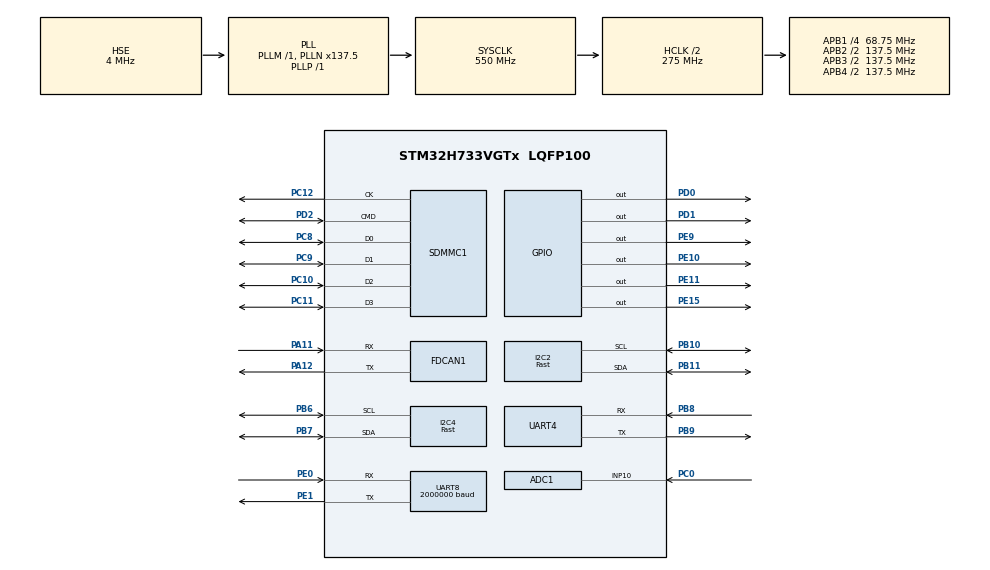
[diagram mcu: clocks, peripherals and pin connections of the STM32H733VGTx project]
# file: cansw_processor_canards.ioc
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ADC1.Channel-1\#ChannelRegularConversion=ADC_CHANNEL_10
ADC1.ContinuousConvMode=DISABLE
ADC1.NbrOfConversion=1
ADC1.NbrOfConversionFlag=1
ADC1.OffsetNumber-1\#ChannelRegularConversion=ADC_OFFSET_NONE
ADC1.OffsetSignedSaturation-1\#ChannelRegularConversion=DISABLE
ADC1.Rank-1\#ChannelRegularConversion=1
ADC1.SamplingTime-1\#ChannelRegularConversion=ADC_SAMPLETIME_1CYCLE_5
ADC1.master=1
Dma.Request0=UART8_RX
Dma.Request1=UART8_TX
Dma.UART8_RX.0.Direction=DMA_PERIPH_TO_MEMORY
Dma.UART8_RX.0.EventEnable=DISABLE
Dma.UART8_RX.0.FIFOMode=DMA_FIFOMODE_DISABLE
Dma.UART8_RX.0.Instance=DMA1_Stream0
Dma.UART8_RX.0.MemDataAlignment=DMA_MDATAALIGN_BYTE
Dma.UART8_RX.0.MemInc=DMA_MINC_ENABLE
Dma.UART8_RX.0.Mode=DMA_NORMAL
Dma.UART8_RX.0.PeriphDataAlignment=DMA_PDATAALIGN_BYTE
Dma.UART8_RX.0.PeriphInc=DMA_PINC_DISABLE
Dma.UART8_RX.0.Polarity=HAL_DMAMUX_REQ_GEN_RISING
Dma.UART8_RX.0.Priority=DMA_PRIORITY_HIGH
Dma.UART8_RX.0.RequestNumber=1
Dma.UART8_RX.0.SignalID=NONE
Dma.UART8_RX.0.SyncEnable=DISABLE
Dma.UART8_RX.0.SyncPolarity=HAL_DMAMUX_SYNC_NO_EVENT
Dma.UART8_RX.0.SyncRequestNumber=1
Dma.UART8_RX.0.SyncSignalID=NONE
Dma.UART8_TX.1.Direction=DMA_MEMORY_TO_PERIPH
Dma.UART8_TX.1.EventEnable=DISABLE
Dma.UART8_TX.1.FIFOMode=DMA_FIFOMODE_DISABLE
Dma.UART8_TX.1.Instance=DMA1_Stream1
Dma.UART8_TX.1.MemDataAlignment=DMA_MDATAALIGN_BYTE
Dma.UART8_TX.1.MemInc=DMA_MINC_ENABLE
Dma.UART8_TX.1.Mode=DMA_NORMAL
Dma.UART8_TX.1.PeriphDataAlignment=DMA_PDATAALIGN_BYTE
Dma.UART8_TX.1.PeriphInc=DMA_PINC_DISABLE
Dma.UART8_TX.1.Polarity=HAL_DMAMUX_REQ_GEN_RISING
Dma.UART8_TX.1.Priority=DMA_PRIORITY_HIGH
Dma.UART8_TX.1.RequestNumber=1
Dma.UART8_TX.1.SignalID=NONE
Dma.UART8_TX.1.SyncEnable=DISABLE
Dma.UART8_TX.1.SyncPolarity=HAL_DMAMUX_SYNC_NO_EVENT
Dma.UART8_TX.1.SyncRequestNumber=1
Dma.UART8_TX.1.SyncSignalID=NONE
FATFS._FS_REENTRANT=0
FATFS._USE_EXPAND=1
FDCAN1.CalculateBaudRateNominal=250000
FDCAN1.CalculateTimeBitNominal=4000
FDCAN1.CalculateTimeQuantumNominal=250.0
FDCAN1.DataPrescaler=4
FDCAN1.DataSyncJumpWidth=4
FDCAN1.DataTimeSeg1=4
FDCAN1.DataTimeSeg2=3
FDCAN1.NominalPrescaler=16
FDCAN1.NominalSyncJumpWidth=4
FDCAN1.NominalTimeSeg1=13
FDCAN1.NominalTimeSeg2=2
FDCAN1.RxFifo0ElmtsNbr=64
FDCAN1.StdFiltersNbr=0
FDCAN1.TxEventsNbr=32
FDCAN1.TxFifoQueueElmtsNbr=32
FDCAN1.TxFifoQueueMode=FDCAN_TX_FIFO_OPERATION
FREERTOS.INCLUDE_xEventGroupSetBitFromISR=1
FREERTOS.Tasks01=defaultTask,8,512,StartDefaultTask,Default,NULL,Dynamic,NULL,NULL
FREERTOS.configCHECK_FOR_STACK_OVERFLOW=2
FREERTOS.configENABLE_BACKWARD_COMPATIBILITY=0
FREERTOS.configENABLE_FPU=1
FREERTOS.configGENERATE_RUN_TIME_STATS=1
FREERTOS.configMINIMAL_STACK_SIZE=512
FREERTOS.configRECORD_STACK_HIGH_ADDRESS=1
FREERTOS.configTIMER_TASK_PRIORITY=54
FREERTOS.configTOTAL_HEAP_SIZE=131072
FREERTOS.configUSE_MALLOC_FAILED_HOOK=1
FREERTOS.configUSE_NEWLIB_REENTRANT=0
FREERTOS.configUSE_OS2_EVENTFLAGS_FROM_ISR=0
FREERTOS.configUSE_OS2_MUTEX=0
FREERTOS.configUSE_OS2_THREAD_ENUMERATE=0
FREERTOS.configUSE_OS2_THREAD_FLAGS=0
FREERTOS.configUSE_OS2_THREAD_SUSPEND_RESUME=0
FREERTOS.configUSE_OS2_TIMER=0
I2C2.I2C_Speed_Mode=I2C_Fast
I2C2.Timing=0x0060237C
I2C4.I2C_Speed_Mode=I2C_Fast
I2C4.Timing=0x00602173
Mcu.Family=STM32H7
Mcu.Name=STM32H733VGTx
Mcu.Package=LQFP100
NVIC.ADC_IRQn=true\:5\:0\:false\:false\:true\:true\:true\:true\:true
NVIC.CORDIC_IRQn=true\:5\:0\:false\:false\:true\:true\:true\:true\:true
NVIC.DMA1_Stream0_IRQn=true\:5\:0\:false\:false\:true\:true\:false\:true\:true
NVIC.DMA1_Stream1_IRQn=true\:5\:0\:false\:false\:true\:true\:false\:true\:true
NVIC.FDCAN1_IT0_IRQn=true\:5\:0\:false\:false\:true\:true\:true\:true\:true
NVIC.FMAC_IRQn=true\:5\:0\:false\:false\:true\:true\:true\:true\:true
NVIC.I2C2_ER_IRQn=true\:5\:0\:false\:false\:true\:true\:true\:true\:true
NVIC.I2C2_EV_IRQn=true\:5\:0\:false\:false\:true\:true\:true\:true\:true
NVIC.I2C4_ER_IRQn=true\:5\:0\:false\:false\:true\:true\:true\:true\:true
NVIC.I2C4_EV_IRQn=true\:5\:0\:false\:false\:true\:true\:true\:true\:true
NVIC.PriorityGroup=NVIC_PRIORITYGROUP_4
NVIC.SDMMC1_IRQn=true\:5\:0\:false\:false\:true\:true\:true\:true\:true
NVIC.TIM6_DAC_IRQn=true\:15\:0\:false\:false\:true\:false\:false\:true\:true
NVIC.TimeBase=TIM6_DAC_IRQn
NVIC.TimeBaseIP=TIM6
NVIC.UART4_IRQn=true\:5\:0\:false\:false\:true\:true\:true\:true\:true
NVIC.UART8_IRQn=true\:5\:0\:false\:false\:true\:true\:true\:true\:true
PA11.GPIO_Speed=GPIO_SPEED_FREQ_LOW
PA11.Mode=FDCAN_Activate
PA11.Signal=FDCAN1_RX
PA12.Mode=FDCAN_Activate
PA12.Signal=FDCAN1_TX
PA13(JTMS/SWDIO).Mode=Serial_Wire
PA13(JTMS/SWDIO).Signal=DEBUG_JTMS-SWDIO
PA14(JTCK/SWCLK).Mode=Serial_Wire
PA14(JTCK/SWCLK).Signal=DEBUG_JTCK-SWCLK
PB10.Mode=I2C
PB10.Signal=I2C2_SCL
PB11.Mode=I2C
PB11.Signal=I2C2_SDA
PB6.Mode=I2C
PB6.Signal=I2C4_SCL
PB7.Mode=I2C
PB7.Signal=I2C4_SDA
PB8.Mode=Asynchronous
PB8.Signal=UART4_RX
PB9.Mode=Asynchronous
PB9.Signal=UART4_TX
PC0.Signal=ADCx_INP10
PC10.Mode=SD_4_bits_Wide_bus
PC10.Signal=SDMMC1_D2
PC11.Mode=SD_4_bits_Wide_bus
PC11.Signal=SDMMC1_D3
PC12.Mode=SD_4_bits_Wide_bus
PC12.Signal=SDMMC1_CK
PC8.Mode=SD_4_bits_Wide_bus
PC8.Signal=SDMMC1_D0
PC9.Mode=SD_4_bits_Wide_bus
PC9.Signal=SDMMC1_D1
PD0.GPIO_ModeDefaultOutputPP=GPIO_MODE_OUTPUT_PP
PD0.GPIO_PuPd=GPIO_NOPULL
PD0.Signal=GPIO_Output
PD1.Signal=GPIO_Output
PD2.Mode=SD_4_bits_Wide_bus
PD2.Signal=SDMMC1_CMD
PE0.Mode=Asynchronous
PE0.Signal=UART8_RX
PE1.Mode=Asynchronous
PE1.Signal=UART8_TX
PE10.Signal=GPIO_Output
PE11.Signal=GPIO_Output
PE15.Signal=GPIO_Output
PE9.Signal=GPIO_Output
PH0-OSC_IN.Mode=HSE-External-Clock-Source
PH0-OSC_IN.Signal=RCC_OSC_IN
ProjectManager.HeapSize=0x200
ProjectManager.StackSize=0x400
ProjectManager.TargetToolchain=STM32CubeIDE
RCC.ADCFreq_Value=48000000
RCC.APB1Freq_Value=68750000
RCC.APB2Freq_Value=137500000
RCC.APB3Freq_Value=137500000
RCC.APB4Freq_Value=137500000
RCC.CortexFreq_Value=550000000
RCC.D1PPRE=RCC_APB3_DIV2
RCC.D2PPRE1=RCC_APB1_DIV4
RCC.D2PPRE2=RCC_APB2_DIV2
RCC.D3PPRE=RCC_APB4_DIV2
RCC.DIVM1=1
RCC.DIVM2=1
RCC.DIVM3=1
RCC.DIVN1=137
RCC.DIVN2=48
RCC.DIVN3=48
RCC.DIVP1=1
RCC.DIVP2=4
RCC.DIVQ1=4
RCC.DIVQ2=3
RCC.DIVQ3=3
RCC.DIVR1=4
RCC.DIVR3=3
RCC.FDCANCLockSelection=RCC_FDCANCLKSOURCE_PLL2
RCC.HCLKFreq_Value=275000000
RCC.HPRE=RCC_HCLK_DIV2
RCC.HSE_VALUE=4000000
RCC.I2C4CLockSelection=RCC_I2C4CLKSOURCE_PLL3
RCC.PLL2FRACN=0
RCC.PLL3FRACN=0
RCC.PLLFRACN=4096
RCC.PLLSourceVirtual=RCC_PLLSOURCE_HSE
RCC.RCC_RTC_Clock_Source_FROM_HSE=RCC_RTCCLKSOURCE_HSE_DIV32
RCC.RTCClockSelection=RCC_RTCCLKSOURCE_HSE_DIV32
RCC.SYSCLKFreq_VALUE=550000000
RCC.SYSCLKSource=RCC_SYSCLKSOURCE_PLLCLK
RCC.USART16CLockSelection=RCC_USART16910CLKSOURCE_PLL3
RCC.USART234578CLockSelection=RCC_USART234578CLKSOURCE_PLL3
RCC.USBFreq_Value=137500000
SDMMC1.ClockDiv=4
SH.ADCx_INP10.0=ADC1_INP10,IN10-Single-Ended
TIM2.Prescaler=12500
UART4.SwapParam=UART_ADVFEATURE_SWAP_ENABLE
UART8.BaudRate=2000000
VP_CORDIC_VS_CORDIC.Mode=CORDIC_Activate
VP_FATFS_VS_SDIO.Mode=SDIO
VP_FMAC_VS_FMAC.Mode=FMAC_Activate
VP_FREERTOS_VS_CMSIS_V2.Mode=CMSIS_V2
VP_MEMORYMAP_VS_MEMORYMAP.Mode=CurAppReg
VP_RTC_VS_RTC_Activate.Mode=RTC_Enabled
VP_SYS_VS_tim6.Mode=TIM6
VP_TIM2_VS_ClockSourceINT.Mode=Internal
VREF+.Mode=InternalMode
VREF+.Signal=VREFBUF_OUT
VREFBUF.VoltageScaling=SYSCFG_VREFBUF_VOLTAGE_SCALE0
board=custom

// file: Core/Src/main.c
/* USER CODE BEGIN Header */
/**
 ******************************************************************************
 * @file           : main.c
 * @brief          : Main program body
 ******************************************************************************
 * @attention
 *
 * Copyright (c) 2024 STMicroelectronics.
 * All rights reserved.
 *
 * This software is licensed under terms that can be found in the LICENSE file
 * in the root directory of this software component.
 * If no LICENSE file comes with this software, it is provided AS-IS.
 *
 ******************************************************************************
 */
/* USER CODE END Header */
#include "main.h"
#include "adc.h"
#include "cmsis_os.h"
#include "cordic.h"
#include "dma.h"
#include "fatfs.h"
#include "fdcan.h"
#include "fmac.h"
#include "gpio.h"
#include "i2c.h"
#include "memorymap.h"
#include "rtc.h"
#include "sdmmc.h"
#include "tim.h"
#include "usart.h"
#include "core_cm7.h"

/* USER CODE BEGIN PD */
#define DEFAULT_STACKDEPTH_WORDS 128 * 4

/* USER CODE END PD */

void SystemClock_Config(void);
void PeriphCommonClock_Config(void);
void MX_FREERTOS_Init(void);

int main(void) {

    /* MCU Configuration--------------------------------------------------------*/

    /* Reset of all peripherals, Initializes the Flash interface and the Systick. */
    HAL_Init();

    /* Configure the system clock */
    SystemClock_Config();

    /* Configure the peripherals common clocks */
    PeriphCommonClock_Config();

    /* Initialize all configured peripherals */
    MX_GPIO_Init();
    MX_DMA_Init();
    MX_CORDIC_Init();
    MX_FDCAN1_Init();
    MX_FMAC_Init();
    MX_I2C4_Init();
    MX_RTC_Init();
    MX_SDMMC1_SD_Init();
    MX_UART4_Init();
    MX_FATFS_Init();
    MX_ADC1_Init();
    MX_TIM2_Init();
    MX_UART8_Init();
    MX_I2C2_Init();
    /* USER CODE BEGIN 2 */
    HAL_TIM_Base_Start(&htim2);

    /* USER CODE END 2 */

    /* Init scheduler */
    osKernelInitialize();

    /* Call init function for freertos objects (in cmsis_os2.c) */
    MX_FREERTOS_Init();

    /* Start scheduler */
    osKernelStart();

    /* We should never get here as control is now taken by the scheduler */

    /* Infinite loop */
    while (1) {

    }
}

void SystemClock_Config(void) {
    RCC_OscInitTypeDef RCC_OscInitStruct = {0};
    RCC_ClkInitTypeDef RCC_ClkInitStruct = {0};

    /** Supply configuration update enable
     */
    HAL_PWREx_ConfigSupply(PWR_LDO_SUPPLY);

    /** Configure the main internal regulator output voltage
     */
    __HAL_PWR_VOLTAGESCALING_CONFIG(PWR_REGULATOR_VOLTAGE_SCALE0);

    while (!__HAL_PWR_GET_FLAG(PWR_FLAG_VOSRDY)) {}

    /** Initializes the RCC Oscillators according to the specified parameters
     * in the RCC_OscInitTypeDef structure.
     */
    RCC_OscInitStruct.OscillatorType = RCC_OSCILLATORTYPE_HSE;
    RCC_OscInitStruct.HSEState = RCC_HSE_BYPASS;
    RCC_OscInitStruct.PLL.PLLState = RCC_PLL_ON;
    RCC_OscInitStruct.PLL.PLLSource = RCC_PLLSOURCE_HSE;
    RCC_OscInitStruct.PLL.PLLM = 1;
    RCC_OscInitStruct.PLL.PLLN = 137;
    RCC_OscInitStruct.PLL.PLLP = 1;
    RCC_OscInitStruct.PLL.PLLQ = 4;
    RCC_OscInitStruct.PLL.PLLR = 4;
    RCC_OscInitStruct.PLL.PLLRGE = RCC_PLL1VCIRANGE_2;
    RCC_OscInitStruct.PLL.PLLVCOSEL = RCC_PLL1VCOWIDE;
    RCC_OscInitStruct.PLL.PLLFRACN = 4096;
    if (HAL_RCC_OscConfig(&RCC_OscInitStruct) != HAL_OK) {
        Error_Handler();
    }

    /** Initializes the CPU, AHB and APB buses clocks
     */
    RCC_ClkInitStruct.ClockType = RCC_CLOCKTYPE_HCLK | RCC_CLOCKTYPE_SYSCLK | RCC_CLOCKTYPE_PCLK1 |
                                  RCC_CLOCKTYPE_PCLK2 | RCC_CLOCKTYPE_D3PCLK1 |
                                  RCC_CLOCKTYPE_D1PCLK1;
    RCC_ClkInitStruct.SYSCLKSource = RCC_SYSCLKSOURCE_PLLCLK;
    RCC_ClkInitStruct.SYSCLKDivider = RCC_SYSCLK_DIV1;
    RCC_ClkInitStruct.AHBCLKDivider = RCC_HCLK_DIV2;
    RCC_ClkInitStruct.APB3CLKDivider = RCC_APB3_DIV2;
    RCC_ClkInitStruct.APB1CLKDivider = RCC_APB1_DIV4;
    RCC_ClkInitStruct.APB2CLKDivider = RCC_APB2_DIV2;
    RCC_ClkInitStruct.APB4CLKDivider = RCC_APB4_DIV2;

    if (HAL_RCC_ClockConfig(&RCC_ClkInitStruct, FLASH_LATENCY_3) != HAL_OK) {
        Error_Handler();
    }
}

void PeriphCommonClock_Config(void) {
    RCC_PeriphCLKInitTypeDef PeriphClkInitStruct = {0};

    /** Initializes the peripherals clock
     */
    PeriphClkInitStruct.PeriphClockSelection = RCC_PERIPHCLK_I2C4 | RCC_PERIPHCLK_ADC |
                                               RCC_PERIPHCLK_UART8 | RCC_PERIPHCLK_FDCAN |
                                               RCC_PERIPHCLK_UART4;
    PeriphClkInitStruct.PLL2.PLL2M = 1;
    PeriphClkInitStruct.PLL2.PLL2N = 48;
    PeriphClkInitStruct.PLL2.PLL2P = 4;
    PeriphClkInitStruct.PLL2.PLL2Q = 3;
    PeriphClkInitStruct.PLL2.PLL2R = 2;
    PeriphClkInitStruct.PLL2.PLL2RGE = RCC_PLL2VCIRANGE_2;
    PeriphClkInitStruct.PLL2.PLL2VCOSEL = RCC_PLL2VCOWIDE;
    PeriphClkInitStruct.PLL2.PLL2FRACN = 0;
    PeriphClkInitStruct.PLL3.PLL3M = 1;
    PeriphClkInitStruct.PLL3.PLL3N = 48;
    PeriphClkInitStruct.PLL3.PLL3P = 2;
    PeriphClkInitStruct.PLL3.PLL3Q = 3;
    PeriphClkInitStruct.PLL3.PLL3R = 3;
    PeriphClkInitStruct.PLL3.PLL3RGE = RCC_PLL3VCIRANGE_2;
    PeriphClkInitStruct.PLL3.PLL3VCOSEL = RCC_PLL3VCOWIDE;
    PeriphClkInitStruct.PLL3.PLL3FRACN = 0;
    PeriphClkInitStruct.FdcanClockSelection = RCC_FDCANCLKSOURCE_PLL2;
    PeriphClkInitStruct.Usart234578ClockSelection = RCC_USART234578CLKSOURCE_PLL3;
    PeriphClkInitStruct.I2c4ClockSelection = RCC_I2C4CLKSOURCE_PLL3;
    PeriphClkInitStruct.AdcClockSelection = RCC_ADCCLKSOURCE_PLL2;
    if (HAL_RCCEx_PeriphCLKConfig(&PeriphClkInitStruct) != HAL_OK) {
        Error_Handler();
    }
}

void HAL_TIM_PeriodElapsedCallback(TIM_HandleTypeDef *htim) {
    if (htim->Instance == TIM6) {
        HAL_IncTick();
    }
}

void Error_Handler(void) {
    /* USER CODE BEGIN Error_Handler_Debug */
    /* User can add his own implementation to report the HAL error return state */
    __disable_irq();
    while (1) {
        // TODO: Report error condition over BUS, attempt to command airbrakes closed
    }
    /* USER CODE END Error_Handler_Debug */
}

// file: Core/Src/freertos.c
/* USER CODE BEGIN Header */
/**
 ******************************************************************************
 * File Name          : freertos.c
 * Description        : Code for freertos applications
 ******************************************************************************
 * @attention
 *
 * Copyright (c) 2024 STMicroelectronics.
 * All rights reserved.
 *
 * This software is licensed under terms that can be found in the LICENSE file
 * in the root directory of this software component.
 * If no LICENSE file comes with this software, it is provided AS-IS.
 *
 ******************************************************************************
 */
/* USER CODE END Header */

#include "FreeRTOS.h"
#include "cmsis_os.h"
#include "main.h"
#include "task.h"

/* USER CODE BEGIN Includes */
#include "stm32h7xx_hal.h"

#include "application/can_handler/can_handler.h"
#include "application/controller/controller.h"
#include "application/estimator/estimator.h"
#include "application/flight_phase/flight_phase.h"
#include "application/health_checks/health_checks.h"
#include "application/hil/hil.h"
#include "application/imu_handler/imu_handler.h"
#include "application/init/init.h"
#include "application/logger/log.h"
#include "drivers/adc/adc.h"
#include "drivers/gpio/gpio.h"
#include "drivers/i2c/i2c.h"
#include "drivers/movella/movella.h"
#include "drivers/sd_card/sd_card.h"
#include "drivers/timer/timer.h"
#include "drivers/uart/uart.h"
#include "rocketlib/include/common.h"
#include "third_party/printf/printf.h"
/* USER CODE END Includes */

/* USER CODE BEGIN Variables */
// External HAL handles
extern I2C_HandleTypeDef hi2c2;
extern I2C_HandleTypeDef hi2c4;
extern UART_HandleTypeDef huart4;
extern UART_HandleTypeDef huart8;
extern FDCAN_HandleTypeDef hfdcan1;
extern ADC_HandleTypeDef hadc1;

// Task handles and priorities are now defined in init.h/init.c
/* USER CODE END Variables */
/* Definitions for defaultTask */
osThreadId_t defaultTaskHandle;
const osThreadAttr_t defaultTask_attributes = {
    .name = "defaultTask",
    .stack_size = 512 * 4,
    .priority = (osPriority_t)osPriorityLow,
};

void StartDefaultTask(void *argument);

void MX_FREERTOS_Init(void); /* (MISRA C 2004 rule 8.1) */

/* Hook prototypes */
void configureTimerForRunTimeStats(void);
unsigned long getRunTimeCounterValue(void);
void vApplicationStackOverflowHook(TaskHandle_t xTask, signed char *pcTaskName);
void vApplicationMallocFailedHook(void);

/* USER CODE BEGIN 1 */
/* Functions needed when configGENERATE_RUN_TIME_STATS is on */
__weak void configureTimerForRunTimeStats(void) {}

extern volatile unsigned long ulHighFrequencyTimerTicks;
__weak unsigned long getRunTimeCounterValue(void) {
    return ulHighFrequencyTimerTicks;
}
/* USER CODE END 1 */

/* USER CODE BEGIN 4 */
void vApplicationStackOverflowHook(TaskHandle_t xTask, signed char *pcTaskName) {
    /* Run time stack overflow checking is performed if
    configCHECK_FOR_STACK_OVERFLOW is defined to 1 or 2. This hook function is
    called if a stack overflow is detected. */
    while (1) {
        proc_handle_fatal_error("SO");
    }
}
/* USER CODE END 4 */

/* USER CODE BEGIN 5 */
void vApplicationMallocFailedHook(void) {
    /* vApplicationMallocFailedHook() will only be called if
    configUSE_MALLOC_FAILED_HOOK is set to 1 in FreeRTOSConfig.h. It is a hook
    function that will get called if a call to pvPortMalloc() fails.
    pvPortMalloc() is called internally by the kernel whenever a task, queue,
    timer or semaphore is created. It is also called by various parts of the
    demo application. If heap_1.c or heap_2.c are used, then the size of the
    heap available to pvPortMalloc() is defined by configTOTAL_HEAP_SIZE in
    FreeRTOSConfig.h, and the xPortGetFreeHeapSize() API function can be used
    to query the size of free heap space that remains (although it does not
    provide information on how the remaining heap might be fragmented). */
    while (1) {
        proc_handle_fatal_error("malloc");
    }
}
/* USER CODE END 5 */

void MX_FREERTOS_Init(void) {

    /* Create the thread(s) */
    /* creation of defaultTask */
    defaultTaskHandle = osThreadNew(StartDefaultTask, NULL, &defaultTask_attributes);

}

/* USER CODE BEGIN Header_StartDefaultTask */
/**
 * @brief  Function implementing the defaultTask thread.
 * This task simply blinks all 3 leds at 1hz
 * @param  argument: Not used
 * @retval None
 */
/* USER CODE END Header_StartDefaultTask */
void StartDefaultTask(void *argument) {
    /* USER CODE BEGIN StartDefaultTask */

    // Initialize all Canard subsystems and create tasks
    w_status_t status = system_init();

    if (status != W_SUCCESS) {
        // If initialization fails, get stuck in error state
        // while (1) {
        //     char error_msg[6];
        //     snprintf_(error_msg, sizeof(error_msg), "in%x", status);
        //     proc_handle_fatal_error(error_msg);
        // }
    }

    // perform blinky
    for (;;) {
        w_status_t status = W_SUCCESS;

        // Toggle all 3 leds
        status |= gpio_toggle(GPIO_PIN_RED_LED, 0);
        status |= gpio_toggle(GPIO_PIN_GREEN_LED, 0);
        status |= gpio_toggle(GPIO_PIN_BLUE_LED, 0);

        if (status != W_SUCCESS) {
            // TODO: handle failure
        }

        vTaskDelay(1000);
    }
    /* USER CODE END StartDefaultTask */
}
